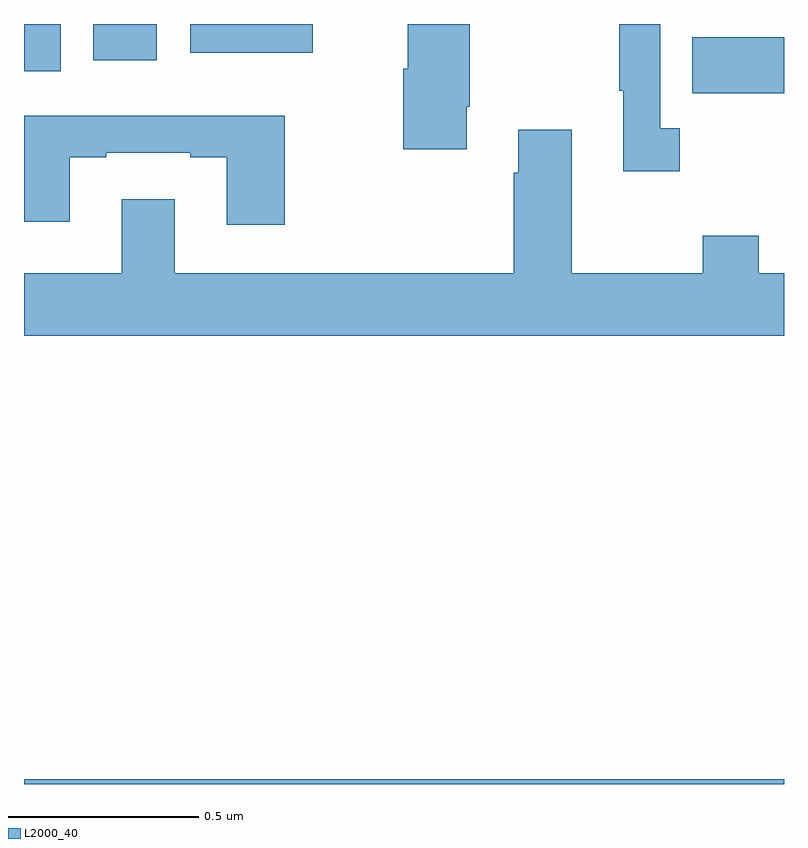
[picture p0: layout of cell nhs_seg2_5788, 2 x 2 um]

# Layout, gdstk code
import gdstk
lib = gdstk.Library(unit=1e-6, precision=1e-09)
def R(c, l, rs):  # rectangles x0, y0, x1, y1
    for r in rs: c.add(gdstk.rectangle(r[:2], r[2:], *l))
def P(c, l, *ps):  # polygons
    for p in ps: c.add(gdstk.Polygon(p, *l))
L2000_40 = (2000, 40)

nhs_seg2_5788 = lib.new_cell('nhs_seg2_5788')
R(nhs_seg2_5788, L2000_40, [(183,635.8,185,635.812), (184.759,637.618,185,637.765), (183,637.676,183.097,637.8), (183.182,637.704,183.349,637.8), (183.437,637.724,183.76,637.8)])
P(nhs_seg2_5788, L2000_40, [(184.726,637.526),(184.674,637.526),(184.674,637.8),(184.566,637.8),(184.566,637.625),(184.577,637.625),(184.577,637.413),(184.726,637.413)],
  [(184.165,637.582),(184.173,637.582),(184.173,637.8),(184.01,637.8),(184.01,637.682),(183.998,637.682),(183.998,637.47),(184.165,637.47)],
  [(183.686,637.558),(183,637.558),(183,637.28),(183.121,637.28),(183.121,637.449),(183.217,637.449),(183.217,637.461),(183.437,637.461),(183.437,637.449),(183.533,637.449),(183.533,637.272),(183.686,637.272)],
  [(185,637.144),(184.933,637.144),(184.933,637.243),(184.786,637.243),(184.786,637.144),(184.441,637.144),(184.441,637.522),(184.301,637.522),(184.301,637.409),(184.289,637.409),(184.289,637.144),(183.397,637.144),(183.397,637.339),(183.257,637.339),(183.257,637.144),(183,637.144),(183,636.98),(185,636.98)])

lib.write_gds('nhs_seg2_5788.gds')
